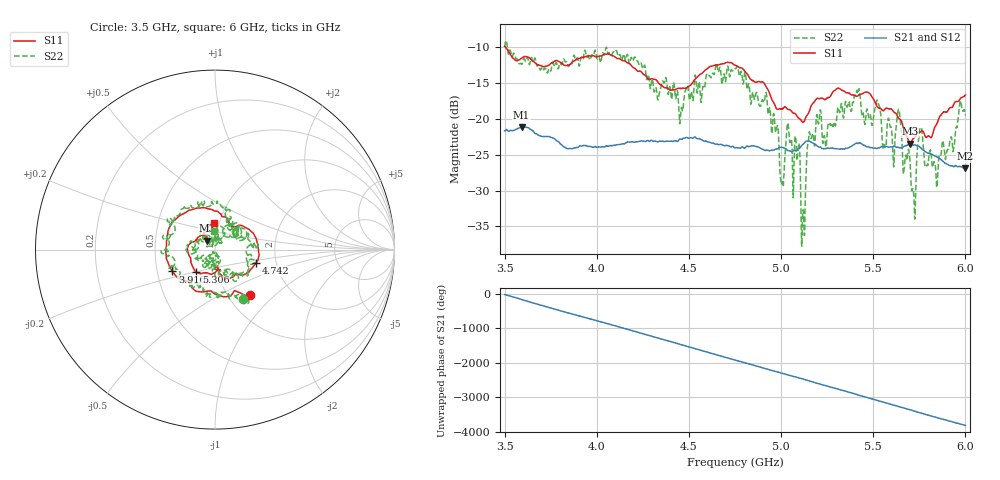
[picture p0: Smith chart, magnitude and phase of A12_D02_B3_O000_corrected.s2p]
! Created with skrf 1.9.0 (http://scikit-rf.org).
# Hz S RI R 50.0
!freq ReS11 ImS11 ReS21 ImS21 ReS12 ImS12 ReS22 ImS22
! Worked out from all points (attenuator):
!   1601 points, 3.5 GHz to 6 GHz, reference 50 ohm
!   highest |S21| = -21.14 dB at 3.592 GHz (marker M1); lowest = -26.9 dB at 6 GHz (marker M2)
!   lowest |S11| = -23.5 dB at 5.698 GHz (marker M3), VSWR 1.14, Z = 45.5 + j4.57 ohm
!   |S11| at or under -10 dB: 3.503 GHz to end of sweep
!   |S22| runs from -37.7 to -9.1 dB; largest |S21 - S12| = 0.00094
!   S11 on the Smith chart (normalised r, x): 3.5 GHz: 1.26, -0.71; 3.916 GHz: 0.60, -0.16; 4.742 GHz: 1.57, -0.25; 5.306 GHz: 0.79, -0.21; 6 GHz: 0.95, +0.28
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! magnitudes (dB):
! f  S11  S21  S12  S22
! 3.5 GHz  -9.9  -21.7  -21.7  -10.0
! 3.592 GHz  -11.6  -21.1  -21.2  -12.4
! 3.916 GHz  -11.5  -23.8  -23.8  -11.5
! 3.917 GHz  -11.5  -23.8  -23.8  -11.4
! 4.334 GHz  -15.0  -23.2  -23.1  -17.1
! 4.742 GHz  -12.4  -23.9  -23.9  -13.3
! 4.75 GHz  -12.5  -24.1  -24.0  -13.0
! 4.927 GHz  -15.8  -24.3  -24.3  -18.4
! 5.005 GHz  -18.6  -24.0  -24.0  -28.8
! 5.036 GHz  -18.7  -24.4  -24.4  -20.6
! 5.088 GHz  -19.7  -24.3  -24.3  -25.8
! 5.119 GHz  -20.5  -23.6  -23.5  -32.7
! 5.167 GHz  -18.0  -23.3  -23.2  -22.4
! 5.306 GHz  -15.7  -24.2  -24.1  -18.7
! 5.416 GHz  -16.8  -23.4  -23.4  -16.4
! 5.584 GHz  -18.6  -23.9  -23.9  -20.0
! 5.639 GHz  -20.0  -24.0  -24.0  -18.7
! 5.698 GHz  -23.5  -23.6  -23.6  -25.5
! 5.719 GHz  -22.7  -23.7  -23.6  -30.2
! 5.755 GHz  -21.9  -24.0  -23.9  -21.2
! 5.841 GHz  -20.9  -25.2  -25.2  -27.8
! 6 GHz  -16.7  -26.9  -26.8  -19.5
